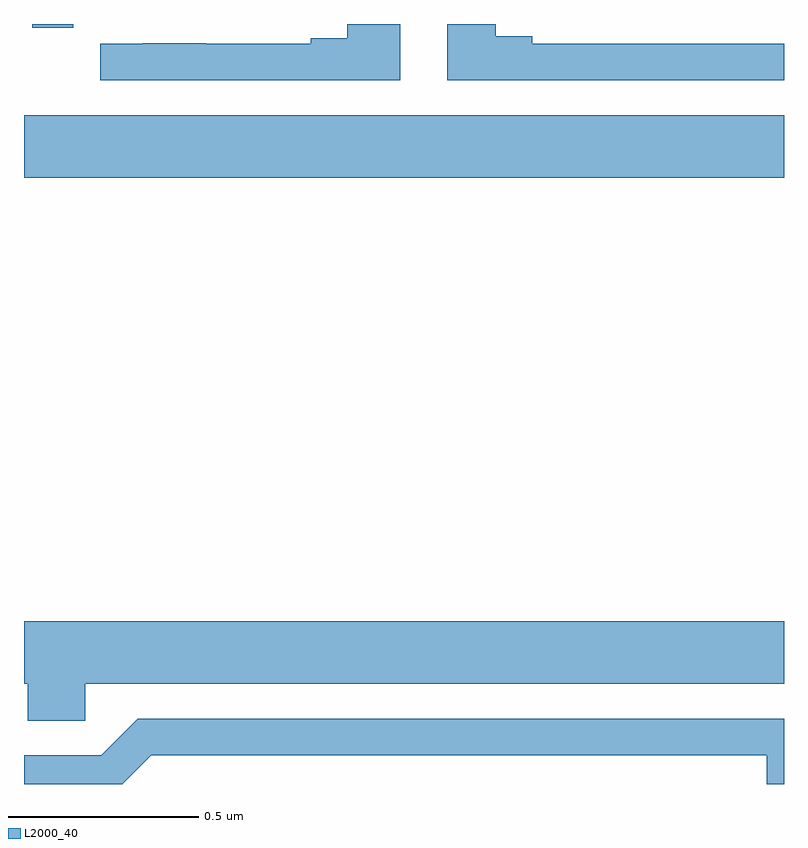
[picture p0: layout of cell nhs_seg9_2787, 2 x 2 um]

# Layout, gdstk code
import gdstk
lib = gdstk.Library(unit=1e-6, precision=1e-09)
def R(c, l, rs):  # rectangles x0, y0, x1, y1
    for r in rs: c.add(gdstk.rectangle(r[:2], r[2:], *l))
def P(c, l, *ps):  # polygons
    for p in ps: c.add(gdstk.Polygon(p, *l))
L2000_40 = (2000, 40)

nhs_seg9_2787 = lib.new_cell('nhs_seg9_2787')
R(nhs_seg9_2787, L2000_40, [(145,1187.096,147,1187.26), (145.022,1187.49,145.13,1187.5)])
P(nhs_seg9_2787, L2000_40, [(147,1187.448),(146.338,1187.448),(146.338,1187.468),(146.242,1187.468),(146.242,1187.5),(146.114,1187.5),(146.114,1187.352),(147,1187.352)],
  [(145.99,1187.5),(145.85,1187.5),(145.85,1187.463),(145.754,1187.463),(145.754,1187.448),(145.478,1187.448),(145.478,1187.449),(145.312,1187.449),(145.312,1187.448),(145.2,1187.448),(145.2,1187.352),(145.99,1187.352)],
  [(145.161,1185.764),(147,1185.764),(147,1185.928),(145,1185.928),(145,1185.764),(145.01,1185.764),(145.01,1185.666),(145.161,1185.666)],
  [(145.335,1185.576),(146.954,1185.576),(146.954,1185.5),(147,1185.5),(147,1185.672),(145.299,1185.672),(145.203,1185.576),(145,1185.576),(145,1185.5),(145.259,1185.5)])

lib.write_gds('nhs_seg9_2787.gds')
